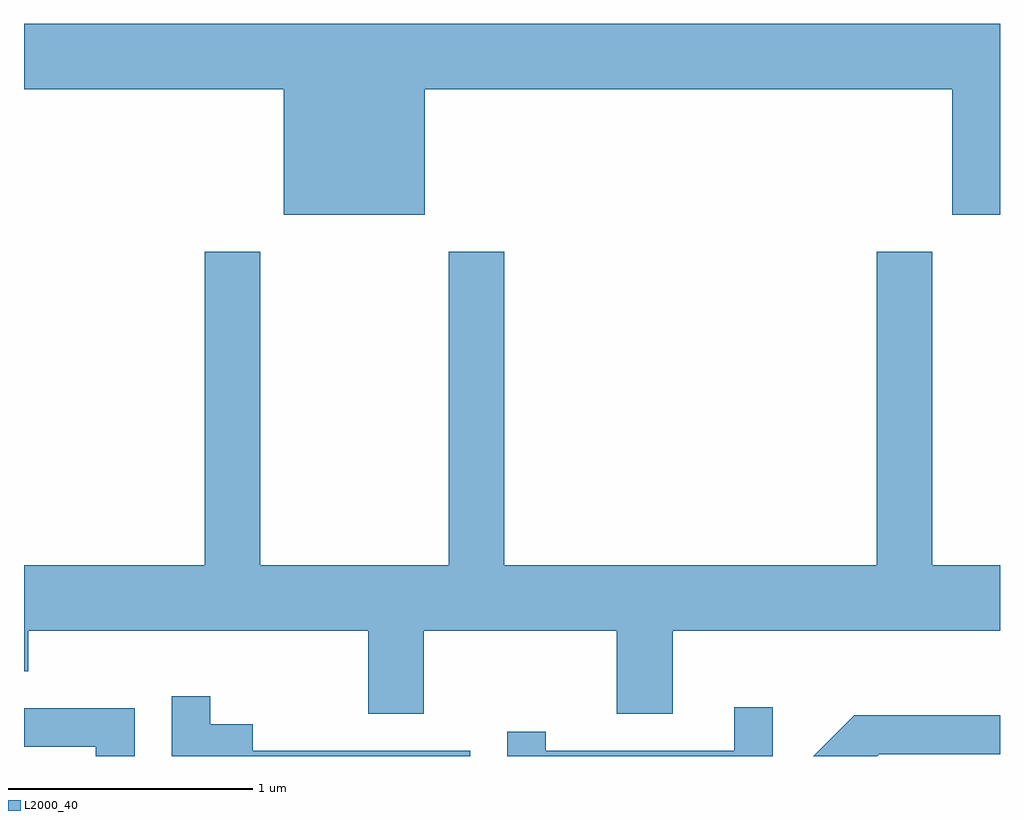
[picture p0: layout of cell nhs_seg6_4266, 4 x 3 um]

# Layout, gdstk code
import gdstk
lib = gdstk.Library(unit=1e-6, precision=1e-09)
def P(c, l, *ps):  # polygons
    for p in ps: c.add(gdstk.Polygon(p, *l))
L2000_40 = (2000, 40)

nhs_seg6_4266 = lib.new_cell('nhs_seg6_4266')
P(nhs_seg6_4266, L2000_40, [(317.254,1578.896),(319.416,1578.896),(319.416,1578.381),(319.611,1578.381),(319.611,1579.164),(315.611,1579.164),(315.611,1578.896),(316.676,1578.896),(316.676,1578.381),(317.254,1578.381)],
  [(317.249,1576.676),(318.041,1576.676),(318.041,1576.336),(318.269,1576.336),(318.269,1576.676),(319.611,1576.676),(319.611,1576.944),(319.334,1576.944),(319.334,1578.229),(319.106,1578.229),(319.106,1576.944),(317.579,1576.944),(317.579,1578.229),(317.351,1578.229),(317.351,1576.944),(316.579,1576.944),(316.579,1578.229),(316.351,1578.229),(316.351,1576.944),(315.611,1576.944),(315.611,1576.511),(315.629,1576.511),(315.629,1576.676),(317.021,1576.676),(317.021,1576.336),(317.249,1576.336)],
  [(317.439,1576.184),(316.549,1576.184),(316.549,1576.294),(316.374,1576.294),(316.374,1576.408),(316.216,1576.408),(316.216,1576.162),(317.439,1576.162)],
  [(318.679,1576.363),(318.521,1576.363),(318.521,1576.184),(317.749,1576.184),(317.749,1576.263),(317.591,1576.263),(317.591,1576.162),(318.679,1576.162)],
  [(316.064,1576.359),(315.611,1576.359),(315.611,1576.201),(315.906,1576.201),(315.906,1576.162),(316.064,1576.162)],
  [(319.117,1576.171),(319.611,1576.171),(319.611,1576.329),(319.014,1576.329),(318.846,1576.162),(319.108,1576.162)])

lib.write_gds('nhs_seg6_4266.gds')
